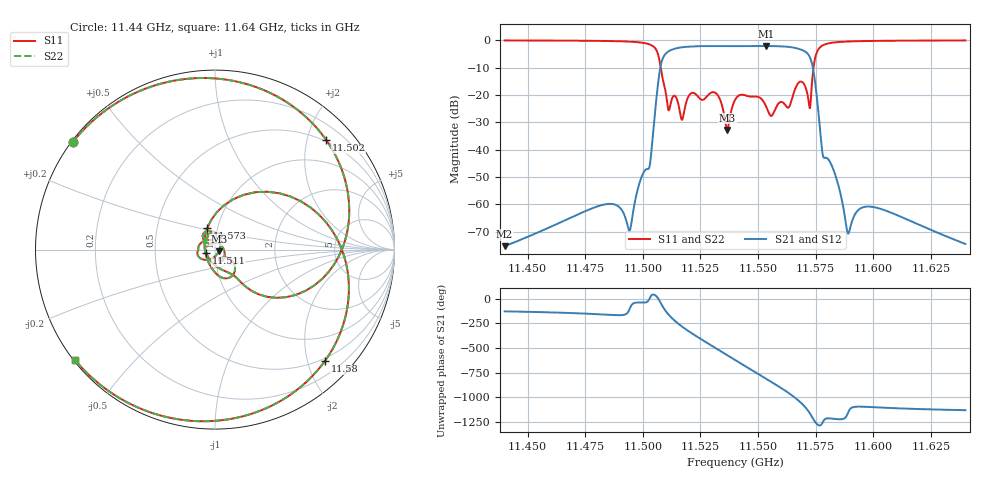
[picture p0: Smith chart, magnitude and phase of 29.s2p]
! This file was generated by CST Filter Designer 3D
! Date:  07.11.2025 16:02:44
# MHZ S RI R 50
!  Frequency  Re(S11)  Im(S11)  Re(S21)  Im(S21)  Re(S12)  Im(S12)  Re(S22)  Im(S22)
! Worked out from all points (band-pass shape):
!   1001 points, 11.44 GHz to 11.64 GHz, reference 50 ohm
!   highest |S21| = -2.08 dB at 11.553 GHz (marker M1); lowest = -75.3 dB at 11.44 GHz (marker M2)
!   |S21| within 3 dB of the highest: 11.51 GHz to 11.572 GHz (61.96 MHz wide, 0.537 % of centre)
!   lowest |S11| = -32.8 dB at 11.537 GHz (marker M3), VSWR 1.05, Z = 52.1 - j0.957 ohm
!   |S11| at or under -10 dB: 11.508 GHz to 11.574 GHz (66.32 MHz wide, 0.575 % of centre)
!   |S22| runs from -32.8 to -0.1 dB; largest |S21 - S12| = 0
!   S11 on the Smith chart (normalised r, x): 11.44 GHz: 0.00, +0.33; 11.502 GHz: 0.47, +2.36; 11.511 GHz: 0.91, -0.04; 11.573 GHz: 0.89, +0.22; 11.58 GHz: 0.45, -2.32; 11.64 GHz: 0.00, -0.35
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11440  -0.7939 0.5972  -0.000107 -0.000133  -0.000107 -0.000133  -0.7939 0.5972
11473.4  -0.5166 0.836  -0.000605 -0.000348  -0.000605 -0.000348  -0.5166 0.836
11494.2  0.1049 0.9396  -9.94e-05 -0.000309  -9.94e-05 -0.000309  0.1049 0.9396
11501.8  0.6204 0.6095  0.00369 -0.0024  0.00369 -0.0024  0.6204 0.6095
11506.8  0.4512 -0.252  0.1893 -0.011  0.1893 -0.011  0.4512 -0.252
11511.2  -0.0478 -0.021  -0.6011 -0.1865  -0.6011 -0.1865  -0.0478 -0.021
11516.2  0.0119 0.0446  -0.0161 0.7375  -0.0161 0.7375  0.0119 0.0446
11522  -0.0556 0.0938  0.7717 -0.0356  0.7717 -0.0356  -0.0556 0.0938
11528.6  -0.068 0.0764  -0.1122 -0.7755  -0.1122 -0.7755  -0.068 0.0764
11536.6  0.0209 -0.00918  -0.6665 0.4131  -0.6665 0.4131  0.0209 -0.00918
11540  -0.0572 -0.057  -0.1273 0.7716  -0.1273 0.7716  -0.0572 -0.057
11546.8  -0.0931 -0.00262  0.784 0.0336  0.784 0.0336  -0.0931 -0.00262
11553.4  -0.0323 0.054  -0.00194 -0.7866  -0.00194 -0.7866  -0.0323 0.054
11559.4  0.0451 -0.0573  -0.7748 -0.0554  -0.7748 -0.0554  0.0451 -0.0573
11564.8  0.0729 -0.0476  -0.1108 0.7349  -0.1108 0.7349  0.0729 -0.0476
11569.4  0.0556 -0.1601  0.6499 0.0929  0.6499 0.0929  0.0556 -0.1601
11573.2  -0.0427 0.12  -0.1313 -0.3831  -0.1313 -0.3831  -0.0427 0.12
11573.4  -0.0221 0.1635  -0.1706 -0.3352  -0.1706 -0.3352  -0.0221 0.1635
11580.2  0.6119 -0.6212  -0.00461 -0.00508  -0.00461 -0.00508  0.6119 -0.6212
11589.2  0.0339 -0.9511  0.000106 -0.00027  0.000106 -0.00027  0.0339 -0.9511
11606.8  -0.481 -0.8553  0.000647 -0.000331  0.000647 -0.000331  -0.481 -0.8553
11640  -0.7807 -0.6137  0.000121 -0.000143  0.000121 -0.000143  -0.7807 -0.6137
